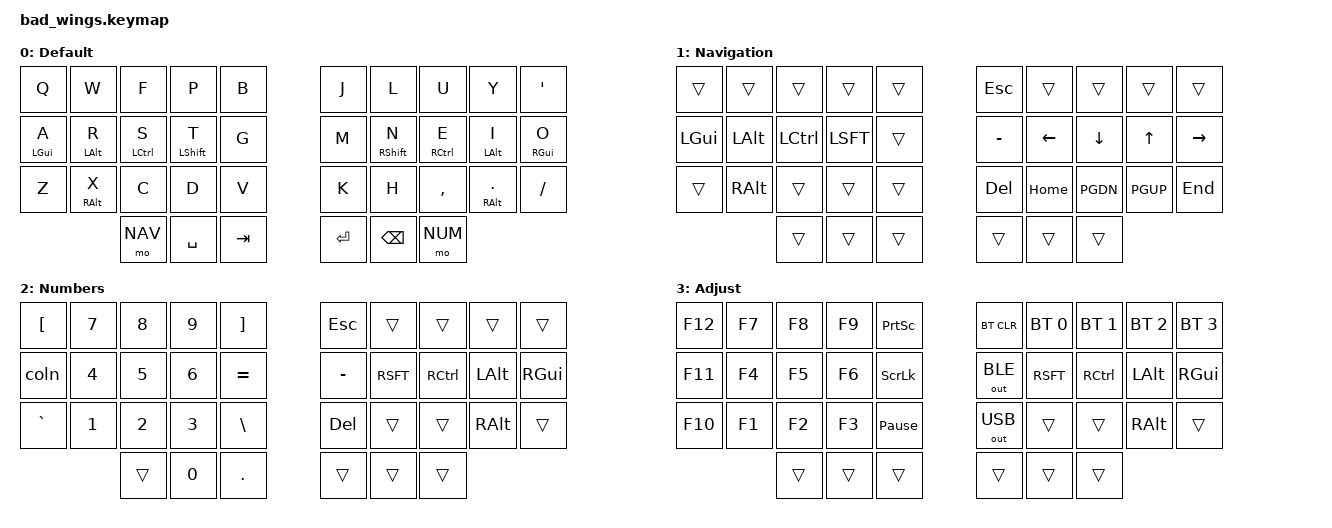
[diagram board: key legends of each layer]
/*
 * Copyright (c) 2022 The ZMK Contributors
 *
 * SPDX-License-Identifier: MIT
 */

#include <behaviors.dtsi>
#include <dt-bindings/zmk/keys.h>
#include <dt-bindings/zmk/bt.h>
#include <dt-bindings/zmk/outputs.h>

#define DEFAULT 0
#define NAV     1
#define NUM     2
#define ADJUST  3

#define LSPO &hm LSHFT LS(N9)
#define RSPC &hm RSHFT RS(N0)

&caps_word {
    continue-list = <UNDERSCORE MINUS BACKSPACE DELETE>;
};

/ {

    combos {
        compatible = "zmk,combos";
        combo_bootloader {
            timeout-ms = <50>;
            key-positions = <0 9>;
            bindings = <&bootloader>;

        };
        combo_lbrc {
            timeout-ms = <50>;
            key-positions = <14 24>;
            bindings = <&kp LS(LBKT)>;
        };
        combo_rbrc {
            timeout-ms = <50>;
            key-positions = <15 25>;
            bindings = <&kp RS(RBKT)>;
        };
        combo_lbkt {
            timeout-ms = <50>;
            key-positions = <4 14>;
            bindings = <&kp LBKT>;
        };
        combo_rbkt {
            timeout-ms = <50>;
            key-positions = <5 15>;
            bindings = <&kp RBKT>;
        };
        combo_capsword {
            timeout-ms = <50>;
            key-positions = <14 15>;
            bindings = <&caps_word>;
        };
        combo_lpar {
            timeout-ms = <50>;
            key-positions = <13 14>;
            bindings = <&kp LS(N9)>;
        };
        combo_rpar {
            timeout-ms = <50>;
            key-positions = <15 16>;
            bindings = <&kp RS(N0)>;
        };
    };

    behaviors {
        hm: homerow_mods {
            compatible = "zmk,behavior-hold-tap";
            label = "HOMEROW_MODS";
            #binding-cells = <2>;
            tapping-term-ms = <200>;
            quick_tap_ms = <0>;
            flavor = "balanced";
            bindings = <&kp>, <&kp>;
        };
        hs: homerow_shift {
            compatible = "zmk,behavior-hold-tap";
            label = "HOMEROW_SHIFT";
            #binding-cells = <2>;
            tapping-term-ms = <175>;
            quick_tap_ms = <0>;
            flavor = "balanced";
            bindings = <&kp>, <&kp>;
        };
        coln: inverted_colon {
            compatible = "zmk,behavior-mod-morph";
            label = "COLON";
            #binding-cells = <0>;
            bindings = <&kp LS(SCLN)>, <&kp SCLN>;
            mods = <(MOD_LSFT|MOD_RSFT)>;
        };
    };

    conditional_layers {
        compatible = "zmk,conditional-layers";
        tri_layer {
            if-layers = <NAV NUM>;
            then-layer = <3>;
        };
    };

    keymap {
        compatible = "zmk,keymap";

        default_layer {
            label = "Default";

            bindings = <
    &kp Q        &kp W        &kp F       &kp P         &kp B                         &kp J         &kp L        &kp U         &kp Y       &kp SQT
    &hm LGUI A   &hm LALT R   &hm LCTL S  &hs LSHIFT T  &kp G                         &kp M         &hs RSHIFT N &hm RCTL E    &hm LALT I  &hm RGUI O
    &kp Z        &hm RALT X   &kp C       &kp D         &kp V                         &kp K         &kp H        &kp COMMA     &hm RALT DOT &kp FSLH
                                          &mo NAV       &kp SPC  &kp TAB  &kp ENTER   &kp BSPC &mo NUM
            >;
        };

        nav_layer {
            label = "Navigation";
            
            bindings = <
    &trans       &trans       &trans      &trans        &trans                                 &kp ESC       &trans       &trans        &trans      &trans
    &kp LGUI     &kp LALT     &kp LCTL    &kp LSFT      &trans                                 &kp MINUS     &kp LEFT     &kp DOWN      &kp UP      &kp RIGHT
    &trans       &kp RALT     &trans      &trans        &trans                                 &kp DEL       &kp HOME     &kp PGDN      &kp PGUP    &kp END
                                          &trans        &trans       &trans        &trans      &trans        &trans
            >;
        };

        num_layer {
            label = "Numbers";
            
            bindings = <
    &kp LBKT     &kp N7       &kp N8      &kp N9        &kp RBKT                                    &kp ESC       &trans       &trans        &trans      &trans
    &coln        &kp N4       &kp N5      &kp N6        &kp EQL                                     &kp MINUS     &kp RSFT     &kp RCTL      &kp LALT    &kp RGUI
    &kp GRAVE    &kp N1       &kp N2      &kp N3        &kp BSLH                                    &kp DEL       &trans       &trans        &kp RALT    &trans
                                          &trans        &kp N0       &kp DOT       &trans           &trans        &trans
            >;
        };

        adj_layer {
            label = "Adjust";
            
            bindings = <
    &kp F12      &kp F7       &kp F8      &kp F9        &kp PSCRN                                   &bt BT_CLR    &bt BT_SEL 0 &bt BT_SEL 1  &bt BT_SEL 2 &bt BT_SEL 3
    &kp F11      &kp F4       &kp F5      &kp F6        &kp SLCK                                    &out OUT_BLE  &kp RSFT     &kp RCTL      &kp LALT    &kp RGUI
    &kp F10      &kp F1       &kp F2      &kp F3        &kp PAUSE_BREAK                             &out OUT_USB  &trans       &trans        &kp RALT    &trans
                                          &trans        &trans       &trans        &trans           &trans        &trans
            >;
        };
    };
};
            /*
            bindings = <
    &trans       &trans       &trans      &trans        &trans                                      &trans        &trans       &trans        &trans      &trans
    &trans       &trans       &trans      &trans        &trans                                      &trans        &trans       &trans        &trans      &trans
    &trans       &trans       &trans      &trans        &trans                                      &trans        &trans       &trans        &trans      &trans
                                          &trans        &trans       &trans        &trans           &trans        &trans
            >;
            */

/* vim: set ft=dts: */
